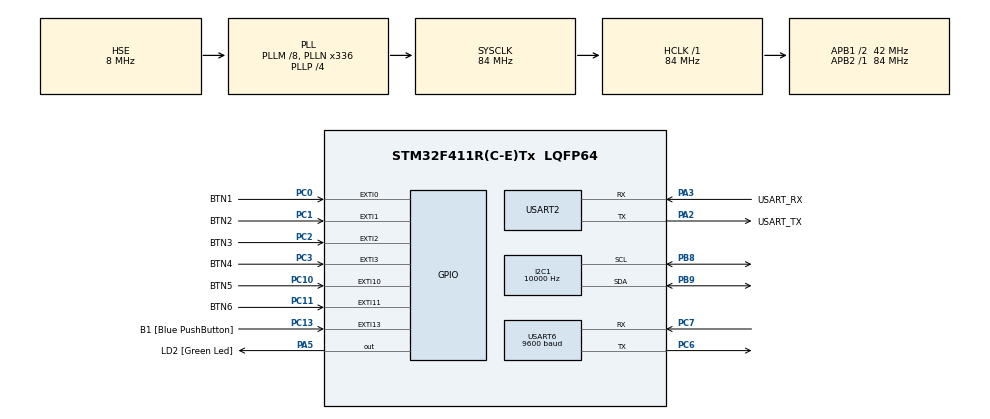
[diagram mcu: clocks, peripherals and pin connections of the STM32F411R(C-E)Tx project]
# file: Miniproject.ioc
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I2C1.ClockSpeed=10000
Mcu.Family=STM32F4
Mcu.Name=STM32F411R(C-E)Tx
Mcu.Package=LQFP64
NVIC.EXTI0_IRQn=true\:0\:0\:false\:false\:true\:true\:true\:true
NVIC.EXTI15_10_IRQn=true\:0\:0\:false\:false\:true\:true\:true\:true
NVIC.EXTI1_IRQn=true\:0\:0\:false\:false\:true\:true\:true\:true
NVIC.EXTI2_IRQn=true\:0\:0\:false\:false\:true\:true\:true\:true
NVIC.EXTI3_IRQn=true\:0\:0\:false\:false\:true\:true\:true\:true
NVIC.PriorityGroup=NVIC_PRIORITYGROUP_0
NVIC.TIM3_IRQn=true\:0\:0\:false\:false\:true\:true\:true\:true
NVIC.USART2_IRQn=true\:0\:0\:false\:false\:true\:true\:true\:true
NVIC.USART6_IRQn=true\:0\:0\:false\:false\:true\:true\:true\:true
PA13.GPIO_Label=TMS
PA13.Mode=Serial_Wire
PA13.Signal=SYS_JTMS-SWDIO
PA14.GPIO_Label=TCK
PA14.Mode=Serial_Wire
PA14.Signal=SYS_JTCK-SWCLK
PA2.GPIO_Label=USART_TX
PA2.Mode=Asynchronous
PA2.Signal=USART2_TX
PA3.GPIO_Label=USART_RX
PA3.Mode=Asynchronous
PA3.Signal=USART2_RX
PA5.GPIO_Label=LD2 [Green Led]
PA5.Signal=GPIO_Output
PB3.GPIO_Label=SWO
PB3.Signal=SYS_JTDO-SWO
PB8.Mode=I2C
PB8.Signal=I2C1_SCL
PB9.Mode=I2C
PB9.Signal=I2C1_SDA
PC0.GPIO_Label=BTN1
PC0.Signal=GPXTI0
PC1.GPIO_Label=BTN2
PC1.Signal=GPXTI1
PC10.GPIO_Label=BTN5
PC10.Signal=GPXTI10
PC11.GPIO_Label=BTN6
PC11.Signal=GPXTI11
PC13-ANTI_TAMP.GPIO_Label=B1 [Blue PushButton]
PC13-ANTI_TAMP.GPIO_ModeDefaultEXTI=GPIO_MODE_IT_FALLING
PC13-ANTI_TAMP.Signal=GPXTI13
PC14-OSC32_IN.Signal=RCC_OSC32_IN
PC15-OSC32_OUT.Signal=RCC_OSC32_OUT
PC2.GPIO_Label=BTN3
PC2.Signal=GPXTI2
PC3.GPIO_Label=BTN4
PC3.Signal=GPXTI3
PC6.Mode=Asynchronous
PC6.Signal=USART6_TX
PC7.Mode=Asynchronous
PC7.Signal=USART6_RX
PH0\ -\ OSC_IN.Mode=HSE-External-Oscillator
PH0\ -\ OSC_IN.Signal=RCC_OSC_IN
PH1\ -\ OSC_OUT.Mode=HSE-External-Oscillator
PH1\ -\ OSC_OUT.Signal=RCC_OSC_OUT
ProjectManager.HeapSize=0x200
ProjectManager.StackSize=0x400
ProjectManager.TargetToolchain=STM32CubeIDE
RCC.48MHZClocksFreq_Value=84000000
RCC.AHBFreq_Value=84000000
RCC.APB1CLKDivider=RCC_HCLK_DIV2
RCC.APB1Freq_Value=42000000
RCC.APB1TimFreq_Value=84000000
RCC.APB2Freq_Value=84000000
RCC.APB2TimFreq_Value=84000000
RCC.CortexFreq_Value=84000000
RCC.FLatency-AdvancedSettings=FLASH_LATENCY_2
RCC.HCLKFreq_Value=84000000
RCC.HSE_VALUE=8000000
RCC.HSI_VALUE=16000000
RCC.LSE_VALUE=32768
RCC.PLLM=8
RCC.PLLN=336
RCC.PLLP=RCC_PLLP_DIV4
RCC.PLLSourceVirtual=RCC_PLLSOURCE_HSE
RCC.SYSCLKFreq_VALUE=84000000
RCC.SYSCLKSource=RCC_SYSCLKSOURCE_PLLCLK
RCC.VCOOutputFreq_Value=336000000
TIM3.AutoReloadPreload=TIM_AUTORELOAD_PRELOAD_ENABLE
TIM3.Period=10000-1
TIM3.Prescaler=8200-1
USART2.VirtualMode=VM_ASYNC
USART6.BaudRate=9600
USART6.VirtualMode=VM_ASYNC
VP_TIM3_VS_ClockSourceINT.Mode=Internal
board=NUCLEO-F411RE

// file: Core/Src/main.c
/* USER CODE BEGIN Header */
/**
  ******************************************************************************
  * @file           : main.c
  * @brief          : Main program body
  ******************************************************************************
  * @attention
  *
  * Copyright (c) 2024 STMicroelectronics.
  * All rights reserved.
  *
  * This software is licensed under terms that can be found in the LICENSE file
  * in the root directory of this software component.
  * If no LICENSE file comes with this software, it is provided AS-IS.
  *
  ******************************************************************************
  */
/* USER CODE END Header */
#include "main.h"

/* USER CODE BEGIN Includes */
#include <stdio.h>
#include <string.h>
#include "clcd.h"
#include "Model_Mode.h"
#include "Model_Mortor_Mode.h"
#include "Model_Sub_Mode.h"
/* USER CODE END Includes */

/* USER CODE BEGIN PD */
#ifdef __GNUC__
/* With GCC, small printf (option LD Linker->Libraries->Small printf
   set to 'Yes') calls __io_putchar() */
#define PUTCHAR_PROTOTYPE int __io_putchar(int ch)
#else
#define PUTCHAR_PROTOTYPE int fputc(int ch, FILE *f)
#endif /* __GNUC__ */
#define ARR_CNT 10
#define CMD_SIZE 55
/* USER CODE END PD */

I2C_HandleTypeDef hi2c1;

TIM_HandleTypeDef htim3;

UART_HandleTypeDef huart2;
UART_HandleTypeDef huart6;

/* USER CODE BEGIN PV */
uint8_t rx2char;
volatile unsigned char rx2Flag = 0;
volatile char rx2Data[50];
volatile unsigned char btFlag = 0;
uint8_t btchar;
char btData[55];

volatile int tim3Flag1Sec;
volatile unsigned int tim3Cnt;
int updateTimeFlag = 0;
typedef struct {
  int year;
  int month;
  int day;
  int hour;
  int min;
  int sec;
  char date[4];
} DATETIME;
DATETIME dateTime = {0, 0, 0, 12, 0, 0, " "};

typedef struct {
	int temp;
	int humi;
	int water;
} SENSORSTATUS;
SENSORSTATUS sensorStatus = {0, 0, 0};

model_mode currentState;
volatile int key1,key3,key4;
/* USER CODE END PV */

void SystemClock_Config(void);
static void MX_GPIO_Init(void);
static void MX_USART2_UART_Init(void);
static void MX_USART6_UART_Init(void);
static void MX_I2C1_Init(void);
static void MX_TIM3_Init(void);
/* USER CODE BEGIN PFP */
void bluetooth_Event();
void clock_calc(DATETIME *dateTime);
int checkButtonState(int buttonIndex, GPIO_TypeDef* btnPort, uint16_t btnPin);
void buttonTrigger();
void btn1Event();
void btn3Event();
void btn4Event();
/* USER CODE END PFP */

int main(void)
{

  /* MCU Configuration--------------------------------------------------------*/

  /* Reset of all peripherals, Initializes the Flash interface and the Systick. */
  HAL_Init();

  /* Configure the system clock */
  SystemClock_Config();

  /* Initialize all configured peripherals */
  MX_GPIO_Init();
  MX_USART2_UART_Init();
  MX_USART6_UART_Init();
  MX_I2C1_Init();
  MX_TIM3_Init();
  /* USER CODE BEGIN 2 */
  HAL_UART_Receive_IT(&huart2, &rx2char,1);
  HAL_UART_Receive_IT(&huart6, &btchar,1);
  LCD_init(&hi2c1);
  if(HAL_TIM_Base_Start_IT(&htim3) != HAL_OK)
  {
	Error_Handler();
  }
  Model_setMode(CLOCK);
  Model_setMotorMode(STOP);
  Model_setSubMode(STOP_S);

  updateTimeFlag = 1;
  printf("start main()\r\n");
  /* USER CODE END 2 */

  /* Infinite loop */
  /* USER CODE BEGIN WHILE */
  while (1)
  {
	  currentState = Model_getMode();

	  if(rx2Flag)
	  {
			printf("recv2 : %s\r\n",rx2Data);
			rx2Flag =0;

	  }
	  if(btFlag)
	  {
			btFlag =0;
			bluetooth_Event();
	  }

	  btn1Event();
	  if(currentState == MAN)
	  {
		  btn3Event();
		  btn4Event();
	  }
	 // printf("key1 : %d\r\n",key1);

//	  if(tim3Flag1Sec)
//	  {
//		  tim3Flag1Sec = 0;
//		  if (!(tim3Cnt % 5))
//		  {
//			  printf("tim3Cnt\r\n");
//		  }
//	  }

    /* USER CODE END WHILE */

  }
}

void SystemClock_Config(void)
{
  RCC_OscInitTypeDef RCC_OscInitStruct = {0};
  RCC_ClkInitTypeDef RCC_ClkInitStruct = {0};

  /** Configure the main internal regulator output voltage
  */
  __HAL_RCC_PWR_CLK_ENABLE();
  __HAL_PWR_VOLTAGESCALING_CONFIG(PWR_REGULATOR_VOLTAGE_SCALE1);

  /** Initializes the RCC Oscillators according to the specified parameters
  * in the RCC_OscInitTypeDef structure.
  */
  RCC_OscInitStruct.OscillatorType = RCC_OSCILLATORTYPE_HSE;
  RCC_OscInitStruct.HSEState = RCC_HSE_ON;
  RCC_OscInitStruct.PLL.PLLState = RCC_PLL_ON;
  RCC_OscInitStruct.PLL.PLLSource = RCC_PLLSOURCE_HSE;
  RCC_OscInitStruct.PLL.PLLM = 8;
  RCC_OscInitStruct.PLL.PLLN = 336;
  RCC_OscInitStruct.PLL.PLLP = RCC_PLLP_DIV4;
  RCC_OscInitStruct.PLL.PLLQ = 4;
  if (HAL_RCC_OscConfig(&RCC_OscInitStruct) != HAL_OK)
  {
    Error_Handler();
  }

  /** Initializes the CPU, AHB and APB buses clocks
  */
  RCC_ClkInitStruct.ClockType = RCC_CLOCKTYPE_HCLK|RCC_CLOCKTYPE_SYSCLK
                              |RCC_CLOCKTYPE_PCLK1|RCC_CLOCKTYPE_PCLK2;
  RCC_ClkInitStruct.SYSCLKSource = RCC_SYSCLKSOURCE_PLLCLK;
  RCC_ClkInitStruct.AHBCLKDivider = RCC_SYSCLK_DIV1;
  RCC_ClkInitStruct.APB1CLKDivider = RCC_HCLK_DIV2;
  RCC_ClkInitStruct.APB2CLKDivider = RCC_HCLK_DIV1;

  if (HAL_RCC_ClockConfig(&RCC_ClkInitStruct, FLASH_LATENCY_2) != HAL_OK)
  {
    Error_Handler();
  }
}

static void MX_I2C1_Init(void)
{

  hi2c1.Instance = I2C1;
  hi2c1.Init.ClockSpeed = 10000;
  hi2c1.Init.DutyCycle = I2C_DUTYCYCLE_2;
  hi2c1.Init.OwnAddress1 = 0;
  hi2c1.Init.AddressingMode = I2C_ADDRESSINGMODE_7BIT;
  hi2c1.Init.DualAddressMode = I2C_DUALADDRESS_DISABLE;
  hi2c1.Init.OwnAddress2 = 0;
  hi2c1.Init.GeneralCallMode = I2C_GENERALCALL_DISABLE;
  hi2c1.Init.NoStretchMode = I2C_NOSTRETCH_DISABLE;
  if (HAL_I2C_Init(&hi2c1) != HAL_OK)
  {
    Error_Handler();
  }

}

static void MX_TIM3_Init(void)
{

  TIM_ClockConfigTypeDef sClockSourceConfig = {0};
  TIM_MasterConfigTypeDef sMasterConfig = {0};

  htim3.Instance = TIM3;
  htim3.Init.Prescaler = 8200-1;
  htim3.Init.CounterMode = TIM_COUNTERMODE_UP;
  htim3.Init.Period = 10000-1;
  htim3.Init.ClockDivision = TIM_CLOCKDIVISION_DIV1;
  htim3.Init.AutoReloadPreload = TIM_AUTORELOAD_PRELOAD_ENABLE;
  if (HAL_TIM_Base_Init(&htim3) != HAL_OK)
  {
    Error_Handler();
  }
  sClockSourceConfig.ClockSource = TIM_CLOCKSOURCE_INTERNAL;
  if (HAL_TIM_ConfigClockSource(&htim3, &sClockSourceConfig) != HAL_OK)
  {
    Error_Handler();
  }
  sMasterConfig.MasterOutputTrigger = TIM_TRGO_RESET;
  sMasterConfig.MasterSlaveMode = TIM_MASTERSLAVEMODE_DISABLE;
  if (HAL_TIMEx_MasterConfigSynchronization(&htim3, &sMasterConfig) != HAL_OK)
  {
    Error_Handler();
  }

}

static void MX_USART2_UART_Init(void)
{

  huart2.Instance = USART2;
  huart2.Init.BaudRate = 115200;
  huart2.Init.WordLength = UART_WORDLENGTH_8B;
  huart2.Init.StopBits = UART_STOPBITS_1;
  huart2.Init.Parity = UART_PARITY_NONE;
  huart2.Init.Mode = UART_MODE_TX_RX;
  huart2.Init.HwFlowCtl = UART_HWCONTROL_NONE;
  huart2.Init.OverSampling = UART_OVERSAMPLING_16;
  if (HAL_UART_Init(&huart2) != HAL_OK)
  {
    Error_Handler();
  }

}

static void MX_USART6_UART_Init(void)
{

  huart6.Instance = USART6;
  huart6.Init.BaudRate = 9600;
  huart6.Init.WordLength = UART_WORDLENGTH_8B;
  huart6.Init.StopBits = UART_STOPBITS_1;
  huart6.Init.Parity = UART_PARITY_NONE;
  huart6.Init.Mode = UART_MODE_TX_RX;
  huart6.Init.HwFlowCtl = UART_HWCONTROL_NONE;
  huart6.Init.OverSampling = UART_OVERSAMPLING_16;
  if (HAL_UART_Init(&huart6) != HAL_OK)
  {
    Error_Handler();
  }

}

static void MX_GPIO_Init(void)
{
  GPIO_InitTypeDef GPIO_InitStruct = {0};

  /* GPIO Ports Clock Enable */
  __HAL_RCC_GPIOC_CLK_ENABLE();
  __HAL_RCC_GPIOH_CLK_ENABLE();
  __HAL_RCC_GPIOA_CLK_ENABLE();
  __HAL_RCC_GPIOB_CLK_ENABLE();

  /*Configure GPIO pin Output Level */
  HAL_GPIO_WritePin(LD2_GPIO_Port, LD2_Pin, GPIO_PIN_RESET);

  /*Configure GPIO pin : B1_Pin */
  GPIO_InitStruct.Pin = B1_Pin;
  GPIO_InitStruct.Mode = GPIO_MODE_IT_FALLING;
  GPIO_InitStruct.Pull = GPIO_NOPULL;
  HAL_GPIO_Init(B1_GPIO_Port, &GPIO_InitStruct);

  /*Configure GPIO pins : BTN1_Pin BTN2_Pin BTN3_Pin BTN4_Pin
                           BTN5_Pin BTN6_Pin */
  GPIO_InitStruct.Pin = BTN1_Pin|BTN2_Pin|BTN3_Pin|BTN4_Pin
                          |BTN5_Pin|BTN6_Pin;
  GPIO_InitStruct.Mode = GPIO_MODE_IT_RISING;
  GPIO_InitStruct.Pull = GPIO_NOPULL;
  HAL_GPIO_Init(GPIOC, &GPIO_InitStruct);

  /*Configure GPIO pin : LD2_Pin */
  GPIO_InitStruct.Pin = LD2_Pin;
  GPIO_InitStruct.Mode = GPIO_MODE_OUTPUT_PP;
  GPIO_InitStruct.Pull = GPIO_NOPULL;
  GPIO_InitStruct.Speed = GPIO_SPEED_FREQ_LOW;
  HAL_GPIO_Init(LD2_GPIO_Port, &GPIO_InitStruct);

  /* EXTI interrupt init*/
  HAL_NVIC_SetPriority(EXTI0_IRQn, 0, 0);
  HAL_NVIC_EnableIRQ(EXTI0_IRQn);

  HAL_NVIC_SetPriority(EXTI1_IRQn, 0, 0);
  HAL_NVIC_EnableIRQ(EXTI1_IRQn);

  HAL_NVIC_SetPriority(EXTI2_IRQn, 0, 0);
  HAL_NVIC_EnableIRQ(EXTI2_IRQn);

  HAL_NVIC_SetPriority(EXTI3_IRQn, 0, 0);
  HAL_NVIC_EnableIRQ(EXTI3_IRQn);

  HAL_NVIC_SetPriority(EXTI15_10_IRQn, 0, 0);
  HAL_NVIC_EnableIRQ(EXTI15_10_IRQn);

}

/* USER CODE BEGIN 4 */
//void MX_GPIO_LED_ON(int pin)
//{
//	HAL_GPIO_WritePin(LD2_GPIO_Port, pin, GPIO_PIN_SET);
//}
//void MX_GPIO_LED_OFF(int pin)
//{
//	HAL_GPIO_WritePin(LD2_GPIO_Port, pin, GPIO_PIN_RESET);
//}
//void MX_GPIO_LAMP_ON(int pin)
//{
//	HAL_GPIO_WritePin(TEST_LED_PIN_GPIO_Port, pin, GPIO_PIN_SET);
//}
//void MX_GPIO_LAMP_OFF(int pin)
//{
//	HAL_GPIO_WritePin(TEST_LED_PIN_GPIO_Port, pin, GPIO_PIN_RESET);
//}
void bluetooth_Event()
{

  int i=0;
  char * pToken;
  char * pArray[ARR_CNT]={0};
  char recvBuf[CMD_SIZE]={0};
  char sendBuf[CMD_SIZE]={0};

  strcpy(recvBuf,btData);
  printf("btData : %s\r\n",btData);

  pToken = strtok(recvBuf,"[@]");
  while(pToken != NULL)
  {
    pArray[i] =  pToken;
    if(++i >= ARR_CNT)
      break;
    pToken = strtok(NULL,"[@]");
  }
  if (!strncmp(pArray[1]," New conn",strlen(" New conn"))) // New Connected
  {
	  //printf("start main() dt\r\n");
	  LCD_writeCmdData(0x01);
	  LCD_writeStringXY(0, 0, "hello user!");
      updateTimeFlag = 1;
 //     HAL_Delay(1000);
      return ;
  }
  else if(!strcmp(pArray[0],"GETTIME"))
  {  //GETTIME
      dateTime.year = (pArray[1][0]-0x30) * 10 + pArray[1][1]-0x30 ;
      dateTime.month =  (pArray[1][3]-0x30) * 10 + pArray[1][4]-0x30 ;
      dateTime.day =  (pArray[1][6]-0x30) * 10 + pArray[1][7]-0x30 ;
      dateTime.hour = (pArray[1][9]-0x30) * 10 + pArray[1][10]-0x30 ;
      dateTime.min =  (pArray[1][12]-0x30) * 10 + pArray[1][13]-0x30 ;
      dateTime.sec =  (pArray[1][15]-0x30) * 10 + pArray[1][16]-0x30 ;
      strncpy(dateTime.date,&pArray[1][18],4);
      return;
  }
  else if(!strcmp(pArray[1],"SENSOR"))
  {
	  sensorStatus.humi = atoi(pArray[2]);
	  sensorStatus.temp = atoi(pArray[3]);
	  sensorStatus.water = atoi(pArray[4]);
	  return;
  }

  else if(!strncmp(pArray[1]," Already log",sizeof(" Already log")))
  {
      return;
  }
  else
      return;

  sprintf(sendBuf,"[%s]%s@%s\n",pArray[0],pArray[1],pArray[2]);
  HAL_UART_Transmit(&huart6, (uint8_t *)sendBuf, strlen(sendBuf), 0xFFFF);

}
/**
  * @brief  Retargets the C library printf function to the USART.
  * @param  None
  * @retval None
  */
PUTCHAR_PROTOTYPE
{
  /* Place your implementation of fputc here */
  /* e.g. write a character to the USART6 and Loop until the end of transmission */
  HAL_UART_Transmit(&huart2, (uint8_t *)&ch, 1, 0xFFFF);

  return ch;
}
void HAL_UART_RxCpltCallback(UART_HandleTypeDef *huart)
{
    if(huart->Instance == USART2)
    {
    	static int i=0;
    	rx2Data[i] = rx2char;
    	if((rx2Data[i] == '\r')||(rx2Data[i] == '\n'))
    	{
    		rx2Data[i] = '\0';
    		rx2Flag = 1;
    		i = 0;
    	}
    	else
    	{
    		i++;
    	}
    	HAL_UART_Receive_IT(&huart2, &rx2char,1);
    }
    if(huart->Instance == USART6)
    {
    	static int i=0;
    	btData[i] = btchar;
    	//printf("%c\r\n",btData[i]);

    	if((btData[i] == '\n') || btData[i] == '\r')
    	{
    		btData[i] = '\0';
    		btFlag = 1;
    		i = 0;
    	}
    	else
    	{
    		i++;
    	}
    	HAL_UART_Receive_IT(&huart6, &btchar,1);
    }
}
void HAL_TIM_PeriodElapsedCallback(TIM_HandleTypeDef *htim)
{
	tim3Cnt++;
	tim3Flag1Sec = 1;
	clock_calc(&dateTime);
}
void clock_calc(DATETIME *dateTime)
{

  dateTime->sec++;          // increment second

  if(dateTime->sec >= 60)                              // if second = 60, second = 0
  {
      dateTime->sec = 0;
      dateTime->min++;

      if(dateTime->min >= 60)                          // if minute = 60, minute = 0
      {
          dateTime->min = 0;
          dateTime->hour++;                               // increment hour
          if(dateTime->hour == 24)
          {
            dateTime->hour = 0;
            updateTimeFlag = 1;
          }
       }
    }
}
void HAL_GPIO_EXTI_Callback(uint16_t GPIO_Pin)
{
	switch(GPIO_Pin)
	{
	case BTN1_Pin:
		key1++;

		break;
	case BTN2_Pin:
		//btn2Event();
		break;
	case BTN3_Pin:
		  key3++;
		  break;
	case BTN4_Pin:
		  key4++;
		  break;
	case BTN5_Pin:
			break;
	case BTN6_Pin:
			break;
	default:
		break;
	}
}
void btn1Event()
{
	uint8_t mode =Model_getMode();
	char buff[30];
	char bdff[30];
	if (key1 > 3)
	{
		key1=0;
	}
	switch(mode)
	{
		case CLOCK :
			sprintf(bdff, "%02d.%02d  %02d:%02d:%02d", dateTime.month, dateTime.day, dateTime.hour, dateTime.min, dateTime.sec );
			sprintf(buff, "  CLOCK   %s", dateTime.date);
			if (updateTimeFlag)
			{
				HAL_UART_Transmit(&huart6, (uint8_t *)"[GETTIME]\n", strlen("[GETTIME]\n"), 0xFFFF);
				updateTimeFlag = 0;
			}
			//LCD_writeCmdData(0x01);
			LCD_writeStringXY(0, 0, buff);
			LCD_writeStringXY(1, 0, bdff);
			if(key1 == 1)
			{
				LCD_writeCmdData(0x01);
				mode = STATE;
				Model_setMode(mode);
				//HAL_UART_Transmit(&huart6, (uint8_t *)"[ALLMSG]GET@SENSOR\n", strlen("[ALLMSG]GET@SENSOR\n"), 0xFFFF);
			}
			break;

		case STATE :
			//LCD_writeCmdData(0x01);

			if(sensorStatus.water < 500){
				sprintf(bdff, "H:%02d T:%02d W:%03d", sensorStatus.humi, sensorStatus.temp, sensorStatus.water );
			}
			else{
				sprintf(bdff, "H:%02d T:%02d W:%s", sensorStatus.humi, sensorStatus.temp, "FULL" );
			}

			LCD_writeStringXY(0, 0, "  state");
			LCD_writeStringXY(1, 0, bdff);
			if(key1 == 2)
			{
				LCD_writeCmdData(0x01);
				mode = MAN;
				Model_setMode(mode);
			}
			break;

		case MAN :
			//LCD_writeCmdData(0x01);

			LCD_writeStringXY(0, 0, "  manual");
			if(key1 == 3)
			{
				LCD_writeCmdData(0x01);
				mode = CLOCK;
				Model_setMode(mode);
				key1 = 0;
			}
			break;
	}
}
void btn3Event()
{
	//uint8_t mode = Model_getMode();
	uint8_t state = Model_getMotorMode();

	if (key3 > 2)
		{
			key3=0;
		}
	switch(state)
	{
		case STOP :

			LCD_writeStringXY(1, 0, "FAN:X");
			if(key3 == 1)
			{

				HAL_UART_Transmit(&huart6, (uint8_t *)"[ALLMSG]FAN@ON\n", strlen("[ALLMSG]FAN@ON\n"), 0xFFFF);
				state = RUN;
				Model_setMotorMode(state);
			}

			break;
		case RUN  :
			LCD_writeStringXY(1, 0, "FAN:O ");
			if(key3 == 2)
			{
				HAL_UART_Transmit(&huart6, (uint8_t *)"[ALLMSG]FAN@OFF\n", strlen("[ALLMSG]FAN@OFF\n"), 0xFFFF);
				state = STOP;
				Model_setMotorMode(state);
				key3 = 0;
			}
			break;
	}

}
void btn4Event()
{
	uint8_t state_s = Model_getSubMode();

	if (key4 > 2)
			{
				key4=0;
			}

	switch(state_s)
	{
		case STOP_S :

			LCD_writeStringXY(1, 7, "DOOR:X");
			if(key4 == 1)
			{

				HAL_UART_Transmit(&huart6, (uint8_t *)"[ALLMSG]MOTOR@OPEN\n", strlen("[ALLMSG]MOTOR@OPEN\n"), 0xFFFF);
				state_s = RUN_S;
				Model_setSubMode(state_s);
			}

			break;
		case RUN_S  :
			LCD_writeStringXY(1, 7, "DOOR:O ");
			if(key4 == 2)
			{
				HAL_UART_Transmit(&huart6, (uint8_t *)"[ALLMSG]MOTOR@CLOSE\n", strlen("[ALLMSG]MOTOR@CLOSE\n"), 0xFFFF);
				state_s = STOP_S;
				Model_setSubMode(state_s);
				key4 = 0;
			}
			break;
	}
}
/* USER CODE END 4 */

void Error_Handler(void)
{
  __disable_irq();
  while (1)
  {
  }
}
